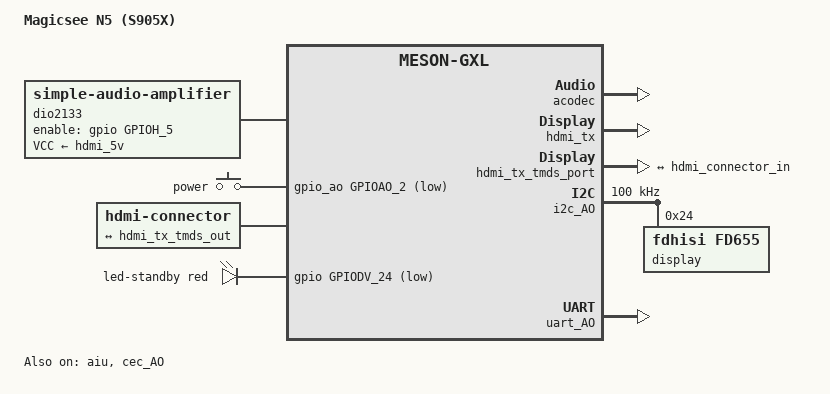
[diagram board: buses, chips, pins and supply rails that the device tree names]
// SPDX-License-Identifier: (GPL-2.0+ OR MIT)
/*
* Copyright (c) 2025 Jean-François Lessard
 * Based on meson-gxl-s905x-p212.dts:
 * - Copyright (c) 2016 Endless Computers, Inc.
 *   Author: Carlo Caione <carlo@endlessm.com>
 */

/dts-v1/;

#include "meson-gxl-s905x-p212.dtsi"
#include <dt-bindings/input/input.h>
#include <dt-bindings/leds/common.h>
#include <dt-bindings/sound/meson-aiu.h>

/ {
	compatible = "magicsee,n5", "amlogic,s905x", "amlogic,meson-gxl";
	model = "Magicsee N5 (S905X)";

	dio2133: analog-amplifier {
		compatible = "simple-audio-amplifier";
		sound-name-prefix = "AU2";
		VCC-supply = <&hdmi_5v>;
		enable-gpios = <&gpio GPIOH_5 GPIO_ACTIVE_HIGH>;
	};

	gpio-keys-polled {
		compatible = "gpio-keys-polled";
		poll-interval = <100>;

		key-power {
			label = "power";
			linux,code = <KEY_POWER>;
			gpios = <&gpio_ao GPIOAO_2 GPIO_ACTIVE_LOW>;
		};
	};

	hdmi-connector {
		compatible = "hdmi-connector";
		type = "a";

		port {
			hdmi_connector_in: endpoint {
				remote-endpoint = <&hdmi_tx_tmds_out>;
			};
		};
	};

	leds {
		compatible = "gpio-leds";

		led-standby {
			color = <LED_COLOR_ID_RED>;
			function = LED_FUNCTION_POWER;
			gpios = <&gpio GPIODV_24 GPIO_ACTIVE_LOW>;
			default-state = "off";
			panic-indicator;
		};
	};

	sound {
		compatible = "amlogic,gx-sound-card";
		model = "S905X-P212";
		audio-aux-devs = <&dio2133>;
		audio-widgets = "Line", "Lineout";
		audio-routing = "AU2 INL", "ACODEC LOLN",
				"AU2 INR", "ACODEC LORN",
				"Lineout", "AU2 OUTL",
				"Lineout", "AU2 OUTR";
		clocks = <&clkc CLKID_MPLL0>,
			 <&clkc CLKID_MPLL1>,
			 <&clkc CLKID_MPLL2>;

		assigned-clocks = <&clkc CLKID_MPLL0>,
				  <&clkc CLKID_MPLL1>,
				  <&clkc CLKID_MPLL2>;
		assigned-clock-parents = <0>, <0>, <0>;
		assigned-clock-rates = <294912000>,
				       <270950400>,
				       <393216000>;

		dai-link-0 {
			sound-dai = <&aiu AIU_CPU CPU_I2S_FIFO>;
		};

		dai-link-1 {
			sound-dai = <&aiu AIU_CPU CPU_I2S_ENCODER>;
			dai-format = "i2s";
			mclk-fs = <256>;

			codec-0 {
				sound-dai = <&aiu AIU_HDMI CTRL_I2S>;
			};

			codec-1 {
				sound-dai = <&aiu AIU_ACODEC CTRL_I2S>;
			};
		};

		dai-link-2 {
			sound-dai = <&aiu AIU_HDMI CTRL_OUT>;

			codec-0 {
				sound-dai = <&hdmi_tx>;
			};
		};

		dai-link-3 {
			sound-dai = <&aiu AIU_ACODEC CTRL_OUT>;

			codec-0 {
				sound-dai = <&acodec>;
			};
		};
	};
};

&acodec {
	AVDD-supply = <&vddio_ao18>;
	status = "okay";
};

&aiu {
	status = "okay";
};

&cec_AO {
	status = "okay";
	pinctrl-0 = <&ao_cec_pins>;
	pinctrl-names = "default";
	hdmi-phandle = <&hdmi_tx>;
};

&hdmi_tx {
	status = "okay";
	pinctrl-0 = <&hdmi_hpd_pins>, <&hdmi_i2c_pins>;
	pinctrl-names = "default";
	hdmi-supply = <&hdmi_5v>;
};

&hdmi_tx_tmds_port {
	hdmi_tx_tmds_out: endpoint {
		remote-endpoint = <&hdmi_connector_in>;
	};
};

&i2c_AO {
	status = "okay";
	pinctrl-0 = <&i2c_ao_pins>;
	pinctrl-names = "default";
	clock-frequency = <100000>;

	#address-cells = <1>;
	#size-cells = <0>;

	display@24 {
		compatible = "fdhisi,fd655";
		reg = <0x24>;

		digits {
			#address-cells = <1>;
			#size-cells = <0>;
			digit@0 {
				reg = <0>;
				segments = <1 3>,
					   <1 4>,
					   <1 5>,
					   <1 0>,
					   <1 1>,
					   <1 2>,
					   <1 6>;
			};
			digit@1 {
				reg = <1>;
				segments = <2 3>,
					   <2 4>,
					   <2 5>,
					   <2 0>,
					   <2 1>,
					   <2 2>,
					   <2 6>;
			};
			digit@2 {
				reg = <2>;
				segments = <3 3>,
					   <3 4>,
					   <3 5>,
					   <3 0>,
					   <3 1>,
					   <3 2>,
					   <3 6>;
			};
			digit@3 {
				reg = <3>;
				segments = <4 3>,
					   <4 4>,
					   <4 5>,
					   <4 0>,
					   <4 1>,
					   <4 2>,
					   <4 6>;
			};
		};

		leds {
			#address-cells = <2>;
			#size-cells = <0>;
			led@0,0 {
				reg = <0 0>;
				function = LED_FUNCTION_ALARM;
			};
			led@0,1 {
				reg = <0 1>;
				function = LED_FUNCTION_USB;
			};
			led@0,2 {
				reg = <0 2>;
				function = "play";
			};
			led@0,3 {
				reg = <0 3>;
				function = "pause";
			};
			led@0,4 {
				reg = <0 4>;
				function = "colon";
			};
			led@0,5 {
				reg = <0 5>;
				function = LED_FUNCTION_LAN;
			};
			led@0,6 {
				reg = <0 6>;
				function = LED_FUNCTION_WLAN;
			};
		};

	};
};

&sd_emmc_a {
	pinctrl-0 = <&sdio_pins>, <&sdio_irq_pins>;
};

&uart_AO {
	status = "okay";
};
